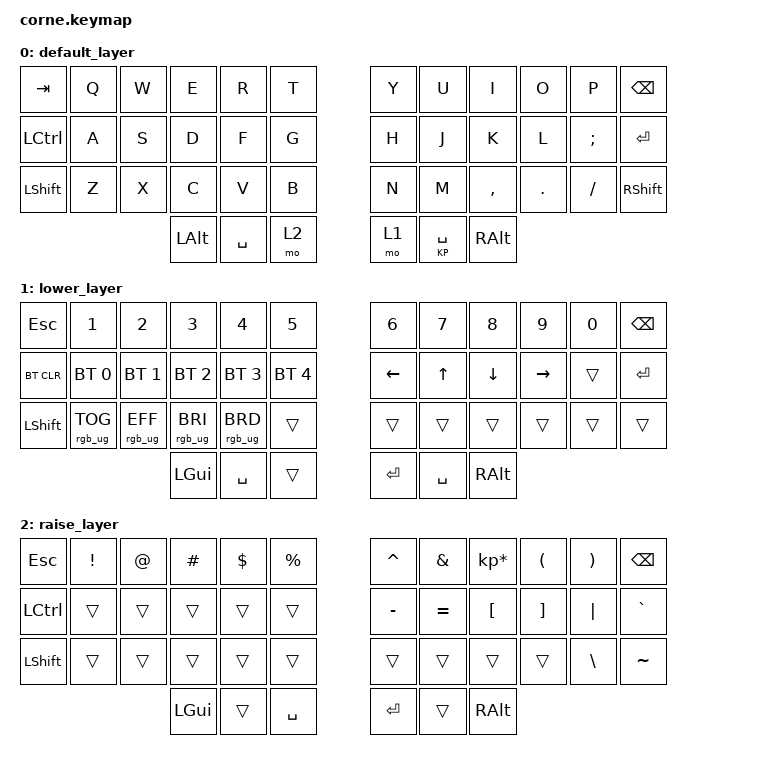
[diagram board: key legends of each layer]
/*
 * Copyright (c) 2020 The ZMK Contributors
 *
 * SPDX-License-Identifier: MIT
 */

#include <behaviors.dtsi>
#include <dt-bindings/zmk/keys.h>
#include <dt-bindings/zmk/bt.h>
#include <dt-bindings/zmk/rgb.h>

/ {
        keymap {
                compatible = "zmk,keymap";

                default_layer {
// -----------------------------------------------------------------------------------------
// |  TAB |  Q  |  W  |  E  |  R  |  T  |   |  Y  |  U   |  I  |  O  |  P  | BKSP |
// | CTRL |  A  |  S  |  D  |  F  |  G  |   |  H  |  J   |  K  |  L  |  ;  | ENT  |
// | SHFT |  Z  |  X  |  C  |  V  |  B  |   |  N  |  M   |  ,  |  .  |  /  | SHFT |
//                    | ALT | SPC | RSE |   | LWR | SPC  | ALT |
                        bindings = <
   &kp TAB   &kp Q &kp W &kp E &kp R &kp T   &kp Y &kp U  &kp I     &kp O   &kp P    &kp BSPC
   &kp LCTRL &kp A &kp S &kp D &kp F &kp G   &kp H &kp J  &kp K     &kp L   &kp SEMI &kp RET
   &kp LSHFT &kp Z &kp X &kp C &kp V &kp B   &kp N &kp M  &kp COMMA &kp DOT &kp FSLH &kp RSHFT
                  &kp LALT &kp SPACE &mo 2   &mo 1 &KP SPACE &kp RALT
                        >;
                };
                lower_layer {
// -----------------------------------------------------------------------------------------
// |  ESC |  1  |  2  |  3  |  4  |  5  |   |  6  |  7  |  8  |  9  |  0  | BKSP |
// | BTCLR| BT1 | BT2 | BT3 | BT4 | BT5 |   | LFT | UP  | DWN | RGT |     |  ENT |
// | SHFT |     |     |     |     |     |   |     |     |     |     |     |      |
//                    | GUI | SPC |     |   |     | SPC | ALT |
                        bindings = <
   &kp ESC    &kp N1          &kp N2          &kp N3          &kp N4          &kp N5            &kp N6   &kp N7  &kp  N8   &kp N9    &kp N0 &kp BSPC
   &bt BT_CLR &bt BT_SEL 0    &bt BT_SEL 1    &bt BT_SEL 2    &bt BT_SEL 3    &bt BT_SEL 4      &kp LEFT &kp UP  &kp  DOWN &kp RIGHT &trans &kp RET
   &kp LSHFT  &rgb_ug RGB_TOG &rgb_ug RGB_EFF &rgb_ug RGB_BRI &rgb_ug RGB_BRD &trans            &trans   &trans  &trans    &trans    &trans &trans
                                              &kp LGUI        &kp SPACE          &trans        &kp RET  &kp SPACE   &kp RALT
                        >;
                };

                raise_layer {
// -----------------------------------------------------------------------------------------
// |  ESC |  !  |  @  |  #  |  $  |  %  |   |  ^  |  &  |  *  |  (  |  )  | BKSP |
// | CTRL |     |     |     |     |     |   |  -  |  =  |  {  |  }  | "|" |  `   |
// | SHFT |     |     |     |     |     |   |  _  |  +  |  [  |  ]  |  \  |  ~   | // TODO: Fix this row when &mkp is committed
//                    | GUI |     | SPC |   | ENT |     | ALT |
                        bindings = <
   &kp  ESC  &kp EXCL  &kp AT  &kp HASH  &kp DLLR  &kp PRCNT   &kp CARET &kp AMPS  &kp KP_MULTIPLY &kp LPAR &kp RPAR &kp BSPC
   &kp LCTRL &trans    &trans  &trans    &trans    &trans      &kp MINUS &kp EQUAL &kp LBKT        &kp RBKT &kp PIPE &kp GRAVE
   &kp LSHFT &trans    &trans  &trans    &trans    &trans      &trans    &trans    &trans          &trans   &kp BSLH &kp TILDE
                                   &kp LGUI &trans &kp SPACE   &kp RET &trans &kp RALT
                        >;
                };
        };
};
